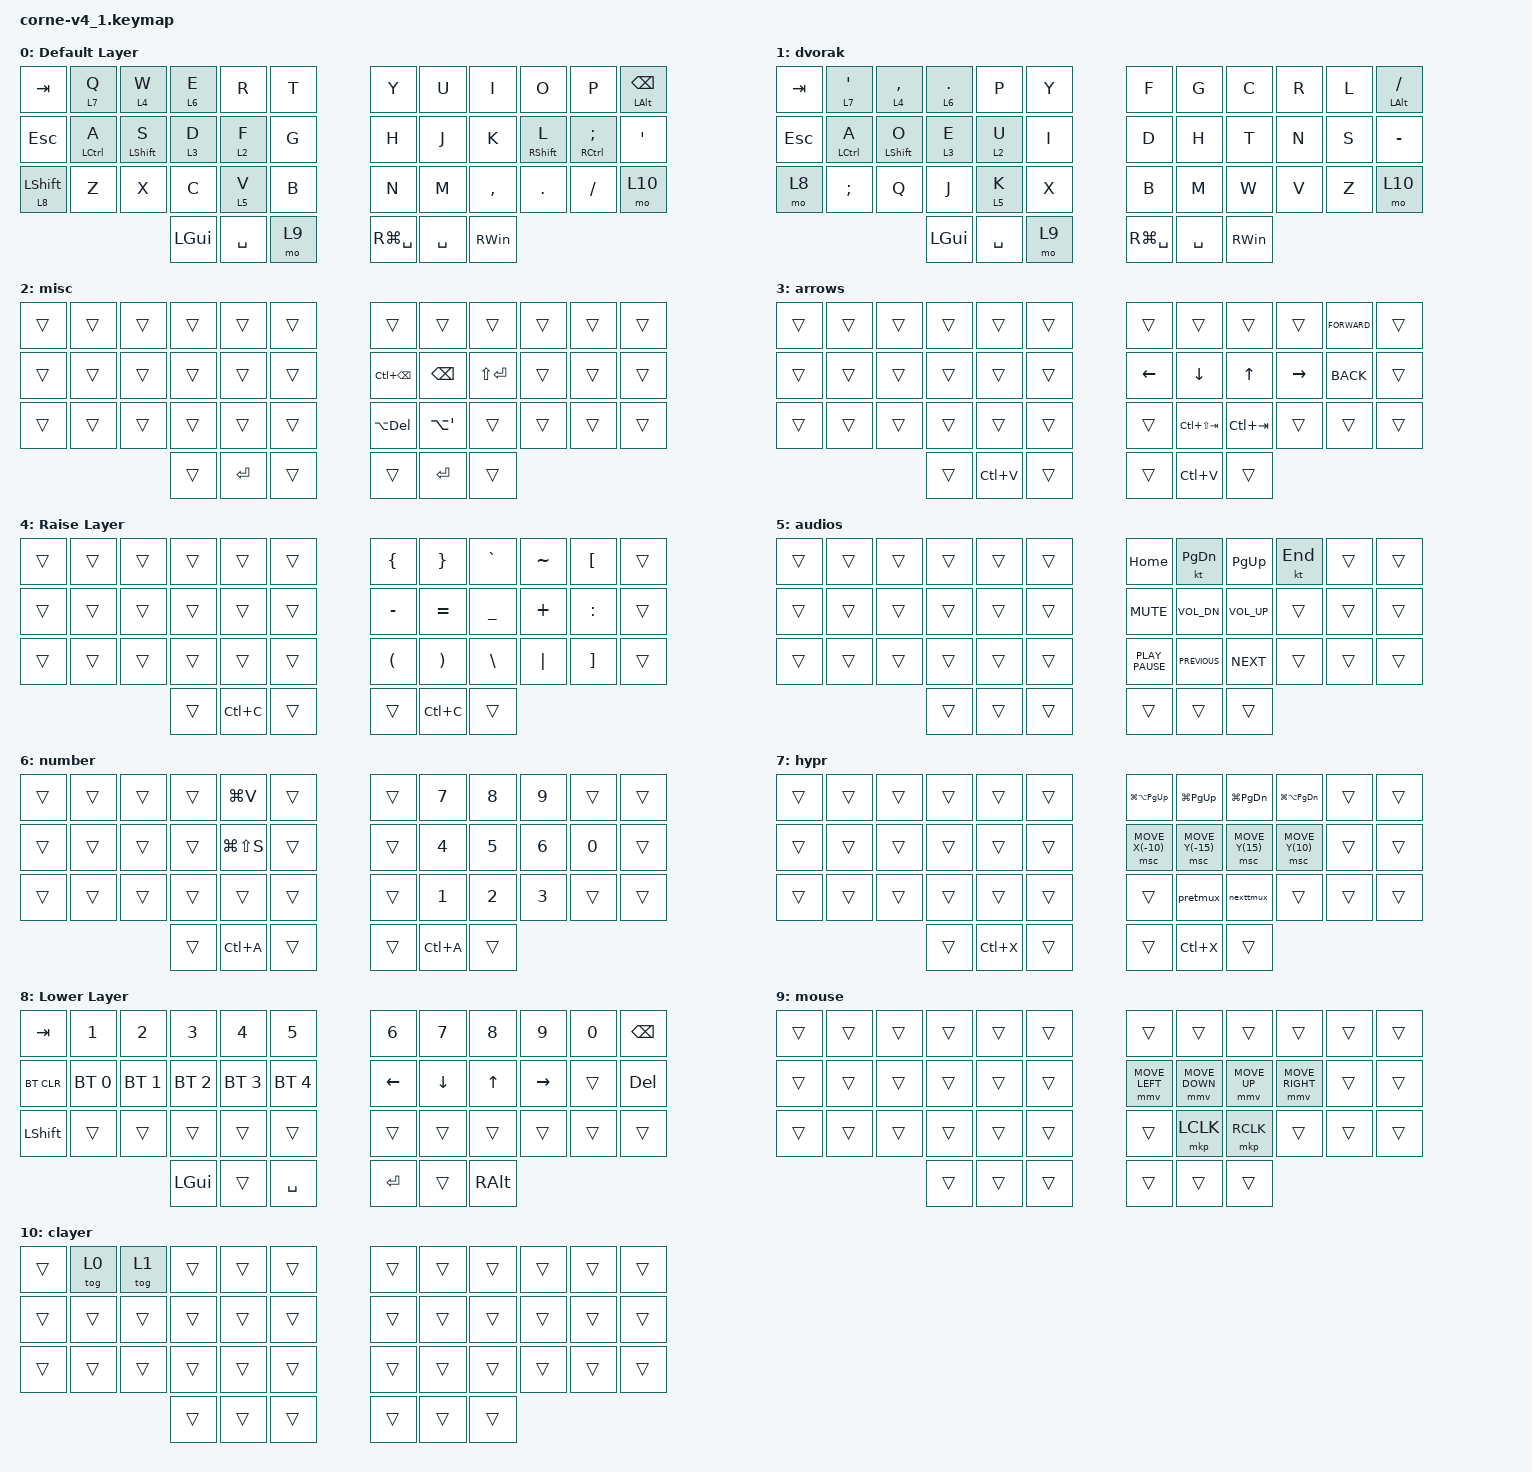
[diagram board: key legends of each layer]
/*
 * Copyright (c) 2020 The ZMK Contributors
 *
 * SPDX-License-Identifier: MIT
 */

#include <behaviors.dtsi>
#include <dt-bindings/zmk/bt.h>
#include <dt-bindings/zmk/keys.h>
#include <dt-bindings/zmk/pointing.h>

&mt {
};

/ {
    macros {
        pretmux: ctrlAP {
            compatible = "zmk,behavior-macro";
            #binding-cells = <0>;
            bindings = <&kp LC(A) &kp P>;
            label = "CTRLAP";
        };

        nexttmux: ctrlAN {
            compatible = "zmk,behavior-macro";
            #binding-cells = <0>;
            bindings = <&kp LC(A) &kp N>;
            label = "CTRLAN";
        };
    };

    behaviors {
        hml: hml {
            compatible = "zmk,behavior-hold-tap";
            label = "Home Row Mod Left";
            bindings = <&kp>, <&kp>;

            #binding-cells = <2>;
            tapping-term-ms = <200>;
            quick-tap-ms = <175>;
            require-prior-idle-ms = <150>;
            flavor = "balanced";
            hold-trigger-key-positions = <6 7 8 9 10 11 18 19 20 21 22 23 30 31 32 33 34 35 39 40 41>;
            hold-trigger-on-release;
        };

        hmr: hmr {
            compatible = "zmk,behavior-hold-tap";
            label = "Home Row Mod Right";
            bindings = <&kp>, <&kp>;

            #binding-cells = <2>;
            tapping-term-ms = <200>;
            quick-tap-ms = <175>;
            require-prior-idle-ms = <150>;
            flavor = "balanced";
            hold-trigger-key-positions = <0 1 2 3 4 5 12 13 14 15 16 17 24 25 26 27 28 29 36 37 38>;
            hold-trigger-on-release;
        };
    };

    keymap {
        compatible = "zmk,keymap";

        default_layer {
            display-name = "Default Layer";

            // -----------------------------------------------------------------------------------------
            // |  TAB |  Q  |  W  |  E  |  R  |  T  |   |  Y  |  U   |  I  |  O  |  P  | BSPC |
            // | CTRL |  A  |  S  |  D  |  F  |  G  |   |  H  |  J   |  K  |  L  |  ;  |  '   |
            // | SHFT |  Z  |  X  |  C  |  V  |  B  |   |  N  |  M   |  ,  |  .  |  /  | ESC  |
            //                    | GUI | LWR | SPC |   | ENT | RSE  | ALT |

            bindings = <
&kp TAB           &lt 7 Q       &lt 4 W            &lt 6 E   &kp R      &kp T    &kp Y          &kp U      &kp I          &kp O               &kp P                 &mt LEFT_ALT BACKSPACE
&kp ESC           &hml LCTRL A  &hml LEFT_SHIFT S  &lt 3 D   &lt 2 F    &kp G    &kp H          &kp J      &kp K          &hmr RIGHT_SHIFT L  &hmr RCTRL SEMICOLON  &kp SQT
&lt 8 LEFT_SHIFT  &kp Z         &kp X              &kp C     &lt 5 V    &kp B    &kp N          &kp M      &kp COMMA      &kp DOT             &kp FSLH              &mo 10
                                                   &kp LGUI  &kp SPACE  &mo 9    &kp RG(SPACE)  &kp SPACE  &kp RIGHT_WIN
            >;
        };

        dvorak {
            display-name = "dvorak";
            bindings = <
&kp TAB  &lt 7 SINGLE_QUOTE  &lt 4 COMMA        &lt 6 DOT  &kp P      &kp Y    &kp F          &kp G      &kp C          &kp R  &kp L  &mt LEFT_ALT SLASH
&kp ESC  &hml LCTRL A        &hml LEFT_SHIFT O  &lt 3 E    &lt 2 U    &kp I    &kp D          &kp H      &kp T          &kp N  &kp S  &kp MINUS
&mo 8    &kp SEMI            &kp Q              &kp J      &lt 5 K    &kp X    &kp B          &kp M      &kp W          &kp V  &kp Z  &mo 10
                                                &kp LGUI   &kp SPACE  &mo 9    &kp RG(SPACE)  &kp SPACE  &kp RIGHT_WIN
            >;
        };

        misc {
            bindings = <
&trans  &trans  &trans  &trans  &trans     &trans    &trans             &trans                &trans         &trans  &trans  &trans
&trans  &trans  &trans  &trans  &trans     &trans    &kp LC(BACKSPACE)  &kp BACKSPACE         &kp LS(ENTER)  &trans  &trans  &trans
&trans  &trans  &trans  &trans  &trans     &trans    &kp LA(DEL)        &kp LA(SINGLE_QUOTE)  &trans         &trans  &trans  &trans
                        &trans  &kp ENTER  &trans    &trans             &kp RET               &trans
            >;
        };

        arrows {
            bindings = <
&trans  &trans  &trans  &trans  &trans     &trans    &trans    &trans           &trans       &trans     &kp K_FORWARD  &trans
&trans  &trans  &trans  &trans  &trans     &trans    &kp LEFT  &kp DOWN         &kp UP       &kp RIGHT  &kp K_BACK     &trans
&trans  &trans  &trans  &trans  &trans     &trans    &trans    &kp LC(LS(TAB))  &kp LC(TAB)  &trans     &trans         &trans
                        &trans  &kp LC(V)  &trans    &trans    &kp LC(V)        &trans
            >;
        };

        marks {
            display-name = "Raise Layer";

            // -----------------------------------------------------------------------------------------
            // |  TAB |  !  |  @  |  #  |  $  |  %  |   |  ^  |  &  |  *  |  (  |  )  | BSPC |
            // | CTRL |     |     |     |     |     |   |  -  |  =  |  [  |  ]  |  \  |  `   |
            // | SHFT |     |     |     |     |     |   |  _  |  +  |  {  |  }  | "|" |  ~   |
            //                    | GUI |     | SPC |   | ENT |     | ALT |

            bindings = <
&trans  &trans  &trans  &trans  &trans     &trans    &kp LEFT_BRACE  &kp RIGHT_BRACE  &kp GRAVE      &kp TILDE  &kp LBKT   &trans
&trans  &trans  &trans  &trans  &trans     &trans    &kp MINUS       &kp EQUAL        &kp UNDER      &kp PLUS   &kp COLON  &trans
&trans  &trans  &trans  &trans  &trans     &trans    &kp LPAR        &kp RPAR         &kp BACKSLASH  &kp PIPE   &kp RBKT   &trans
                        &trans  &kp LC(C)  &trans    &trans          &kp LC(C)        &trans
            >;
        };

        audios {
            bindings = <
&trans  &trans  &trans  &trans  &trans  &trans    &kp HOME          &kt PAGE_DOWN   &kp PAGE_UP   &kt END  &trans  &trans
&trans  &trans  &trans  &trans  &trans  &trans    &kp K_MUTE        &kp C_VOL_DN    &kp C_VOL_UP  &trans   &trans  &trans
&trans  &trans  &trans  &trans  &trans  &trans    &kp K_PLAY_PAUSE  &kp C_PREVIOUS  &kp K_NEXT    &trans   &trans  &trans
                        &trans  &trans  &trans    &trans            &trans          &trans
            >;
        };

        number {
            bindings = <
&trans  &trans  &trans  &trans  &kp LG(V)      &trans    &trans  &kp N7     &kp N8  &kp N9  &trans  &trans
&trans  &trans  &trans  &trans  &kp LG(LS(S))  &trans    &trans  &kp N4     &kp N5  &kp N6  &kp N0  &trans
&trans  &trans  &trans  &trans  &trans         &trans    &trans  &kp N1     &kp N2  &kp N3  &trans  &trans
                        &trans  &kp LC(A)      &trans    &trans  &kp LC(A)  &trans
            >;
        };

        hypr {
            bindings = <
&trans  &trans  &trans  &trans  &trans     &trans    &kp LG(LA(PG_UP))  &kp LG(PG_UP)     &kp LG(PG_DN)    &kp LG(LA(PG_DN))  &trans  &trans
&trans  &trans  &trans  &trans  &trans     &trans    &msc MOVE_X(-10)   &msc MOVE_Y(-15)  &msc MOVE_Y(15)  &msc MOVE_Y(10)    &trans  &trans
&trans  &trans  &trans  &trans  &trans     &trans    &trans             &pretmux          &nexttmux        &trans             &trans  &trans
                        &trans  &kp LC(X)  &trans    &trans             &kp LC(X)         &trans
            >;
        };

        e {
            display-name = "Lower Layer";
            bindings = <
&kp TAB     &kp N1        &kp N2        &kp N3        &kp N4        &kp N5          &kp N6    &kp N7    &kp N8    &kp N9     &kp N0  &kp BSPC
&bt BT_CLR  &bt BT_SEL 0  &bt BT_SEL 1  &bt BT_SEL 2  &bt BT_SEL 3  &bt BT_SEL 4    &kp LEFT  &kp DOWN  &kp UP    &kp RIGHT  &trans  &kp DEL
&kp LSHFT   &trans        &trans        &trans        &trans        &trans          &trans    &trans    &trans    &trans     &trans  &trans
                                        &kp LGUI      &trans        &kp SPACE       &kp RET   &trans    &kp RALT
            >;
        };

        mouse {
            bindings = <
&trans  &trans  &trans  &trans  &trans  &trans    &trans          &trans          &trans        &trans           &trans  &trans
&trans  &trans  &trans  &trans  &trans  &trans    &mmv MOVE_LEFT  &mmv MOVE_DOWN  &mmv MOVE_UP  &mmv MOVE_RIGHT  &trans  &trans
&trans  &trans  &trans  &trans  &trans  &trans    &trans          &mkp LCLK       &mkp RCLK     &trans           &trans  &trans
                        &trans  &trans  &trans    &trans          &trans          &trans
            >;
        };

        clayer {
            bindings = <
&trans  &tog 0  &tog 1  &trans  &trans  &trans    &trans  &trans  &trans  &trans  &trans  &trans
&trans  &trans  &trans  &trans  &trans  &trans    &trans  &trans  &trans  &trans  &trans  &trans
&trans  &trans  &trans  &trans  &trans  &trans    &trans  &trans  &trans  &trans  &trans  &trans
                        &trans  &trans  &trans    &trans  &trans  &trans
            >;
        };
    };
};
